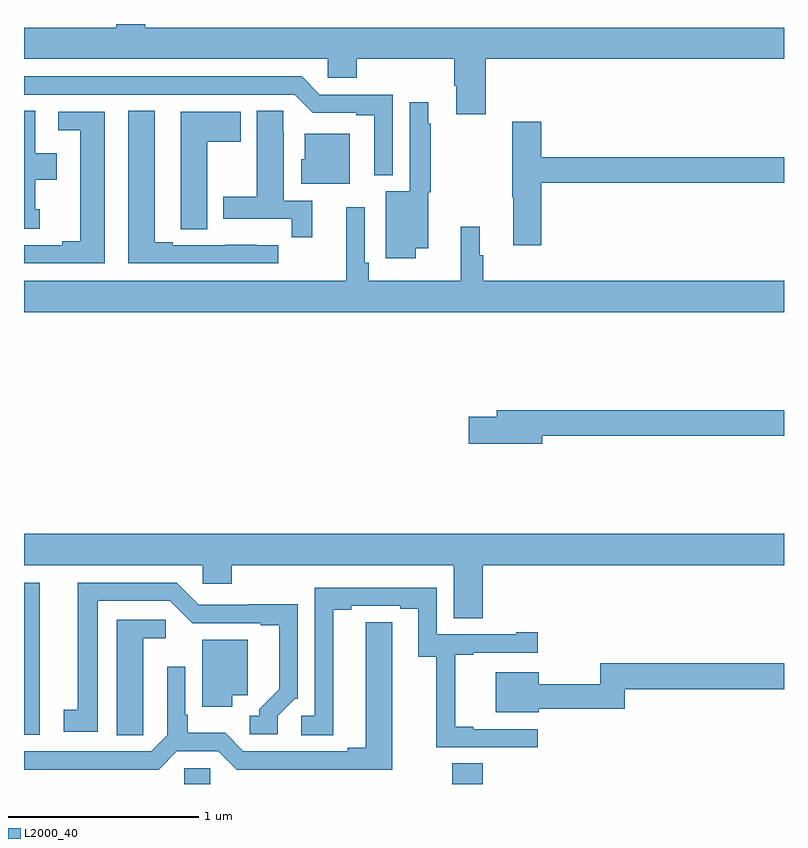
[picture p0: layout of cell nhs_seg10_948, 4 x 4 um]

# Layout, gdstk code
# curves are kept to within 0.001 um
import gdstk
lib = gdstk.Library(unit=1e-6, precision=1e-09)
def R(c, l, rs):  # rectangles x0, y0, x1, y1
    for r in rs: c.add(gdstk.rectangle(r[:2], r[2:], *l))
def P(c, l, *ps):  # polygons
    for p in ps: c.add(gdstk.Polygon(p, *l))
L2000_40 = (2000, 40)

nhs_seg10_948 = lib.new_cell('nhs_seg10_948')
R(nhs_seg10_948, L2000_40, [(159.843,1296.5,159.981,1296.582), (161.254,1296.5,161.414,1296.608), (159,1296.759,159.082,1297.56)])
P(nhs_seg10_948, L2000_40, [(161.429,1300.316),(163,1300.316),(163,1300.48),(159.638,1300.48),(159.638,1300.5),(159.485,1300.5),(159.485,1300.48),(159,1300.48),(159,1300.316),(160.599,1300.316),(160.599,1300.218),(160.751,1300.218),(160.751,1300.316),(161.264,1300.316),(161.264,1300.174),(161.276,1300.174),(161.276,1300.026),(161.429,1300.026)],
  [(160.941,1300.128),(160.557,1300.128),(160.461,1300.224),(159,1300.224),(159,1300.128),(160.425,1300.128),(160.521,1300.032),(160.748,1300.032),(160.748,1300.02),(160.844,1300.02),(160.844,1299.704),(160.941,1299.704)],
  [(161.062,1299.32),(161.128,1299.32),(161.128,1299.615),(161.14,1299.615),(161.14,1299.974),(161.128,1299.974),(161.128,1300.087),(161.031,1300.087),(161.031,1299.619),(160.904,1299.619),(160.904,1299.267),(161.062,1299.267)],
  [(159.082,1299.525),(159.058,1299.525),(159.058,1299.68),(159.172,1299.68),(159.172,1299.82),(159.058,1299.82),(159.058,1300.043),(159,1300.043),(159,1299.423),(159.082,1299.423)],
  [(160.517,1299.57),(160.366,1299.57),(160.366,1299.932),(160.365,1299.932),(160.365,1300.043),(160.226,1300.043),(160.226,1299.591),(160.049,1299.591),(160.049,1299.474),(160.408,1299.474),(160.408,1299.378),(160.517,1299.378)],
  [(160.339,1299.336),(160.226,1299.336),(160.226,1299.337),(160.06,1299.337),(160.06,1299.336),(159.784,1299.336),(159.784,1299.351),(159.688,1299.351),(159.688,1300.043),(159.548,1300.043),(159.548,1299.24),(160.339,1299.24)],
  [(159.964,1299.88),(160.141,1299.88),(160.141,1300.039),(159.824,1300.039),(159.824,1299.529),(159.825,1299.529),(159.825,1299.421),(159.964,1299.421)],
  [(159.424,1300.038),(159.18,1300.038),(159.18,1299.942),(159.296,1299.942),(159.296,1299.356),(159.2,1299.356),(159.2,1299.336),(159,1299.336),(159,1299.24),(159.424,1299.24)],
  [(161.723,1299.664),(163,1299.664),(163,1299.8),(161.723,1299.8),(161.723,1299.985),(161.569,1299.985),(161.569,1299.587),(161.576,1299.587),(161.576,1299.336),(161.723,1299.336)],
  [(160.714,1299.922),(160.478,1299.922),(160.478,1299.789),(160.46,1299.789),(160.46,1299.659),(160.714,1299.659)],
  [(163,1299.148),(161.417,1299.148),(161.417,1299.282),(161.398,1299.282),(161.398,1299.433),(161.299,1299.433),(161.299,1299.148),(160.814,1299.148),(160.814,1299.244),(160.794,1299.244),(160.794,1299.535),(160.697,1299.535),(160.697,1299.148),(159,1299.148),(159,1298.984),(163,1298.984)],
  [(161.728,1298.332),(163,1298.332),(163,1298.468),(161.489,1298.468),(161.489,1298.432),(161.34,1298.432),(161.34,1298.29),(161.728,1298.29)],
  [(161.414,1297.652),(163,1297.652),(163,1297.816),(159,1297.816),(159,1297.652),(159.942,1297.652),(159.942,1297.554),(160.094,1297.554),(160.094,1297.652),(161.261,1297.652),(161.261,1297.372),(161.414,1297.372)],
  [(160.335,1296.858),(160.425,1296.948),(160.44,1296.948),(160.44,1297.445),(160.177,1297.445),(160.177,1297.443),(159.921,1297.443),(159.804,1297.56),(159.284,1297.56),(159.284,1296.89),(159.21,1296.89),(159.21,1296.774),(159.388,1296.774),(159.388,1297.464),(159.768,1297.464),(159.885,1297.347),(160.247,1297.347),(160.247,1297.335),(160.343,1297.335),(160.343,1296.998),(160.238,1296.893),(160.238,1296.858),(160.188,1296.858),(160.188,1296.762),(160.335,1296.762)],
  [(161.704,1296.789),(161.365,1296.789),(161.365,1296.802),(161.27,1296.802),(161.27,1297.179),(161.365,1297.179),(161.365,1297.191),(161.704,1297.191),(161.704,1297.3),(161.591,1297.3),(161.591,1297.287),(161.172,1297.287),(161.172,1297.533),(160.53,1297.533),(160.53,1296.858),(160.458,1296.858),(160.458,1296.757),(160.627,1296.757),(160.627,1297.417),(160.723,1297.417),(160.723,1297.437),(160.979,1297.437),(160.979,1297.422),(161.075,1297.422),(161.075,1297.171),(161.17,1297.171),(161.17,1296.693),(161.704,1296.693)],
  [(159.627,1296.865),(159.628,1296.865),(159.628,1297.268),(159.745,1297.268),(159.745,1297.365),(159.488,1297.365),(159.488,1296.757),(159.627,1296.757)],
  [(159.805,1296.672),(160.023,1296.672),(160.119,1296.576),(160.939,1296.576),(160.938,1297.352),(160.799,1297.352),(160.799,1296.692),(160.703,1296.692),(160.703,1296.672),(160.155,1296.672),(160.058,1296.769),(159.862,1296.769),(159.862,1296.865),(159.849,1296.865),(159.849,1297.117),(159.753,1297.117),(159.753,1296.756),(159.669,1296.672),(159,1296.672),(159,1296.576),(159.709,1296.576)],
  [(160.096,1296.968),(160.177,1296.968),(160.177,1297.258),(159.938,1297.258),(159.938,1296.906),(160.096,1296.906)],
  [(161.71,1296.897),(162.161,1296.897),(162.161,1297),(163,1297),(163,1297.136),(162.033,1297.136),(162.033,1297.025),(161.71,1297.025),(161.71,1297.087),(161.483,1297.087),(161.483,1296.878),(161.71,1296.878)])

lib.write_gds('nhs_seg10_948.gds')
